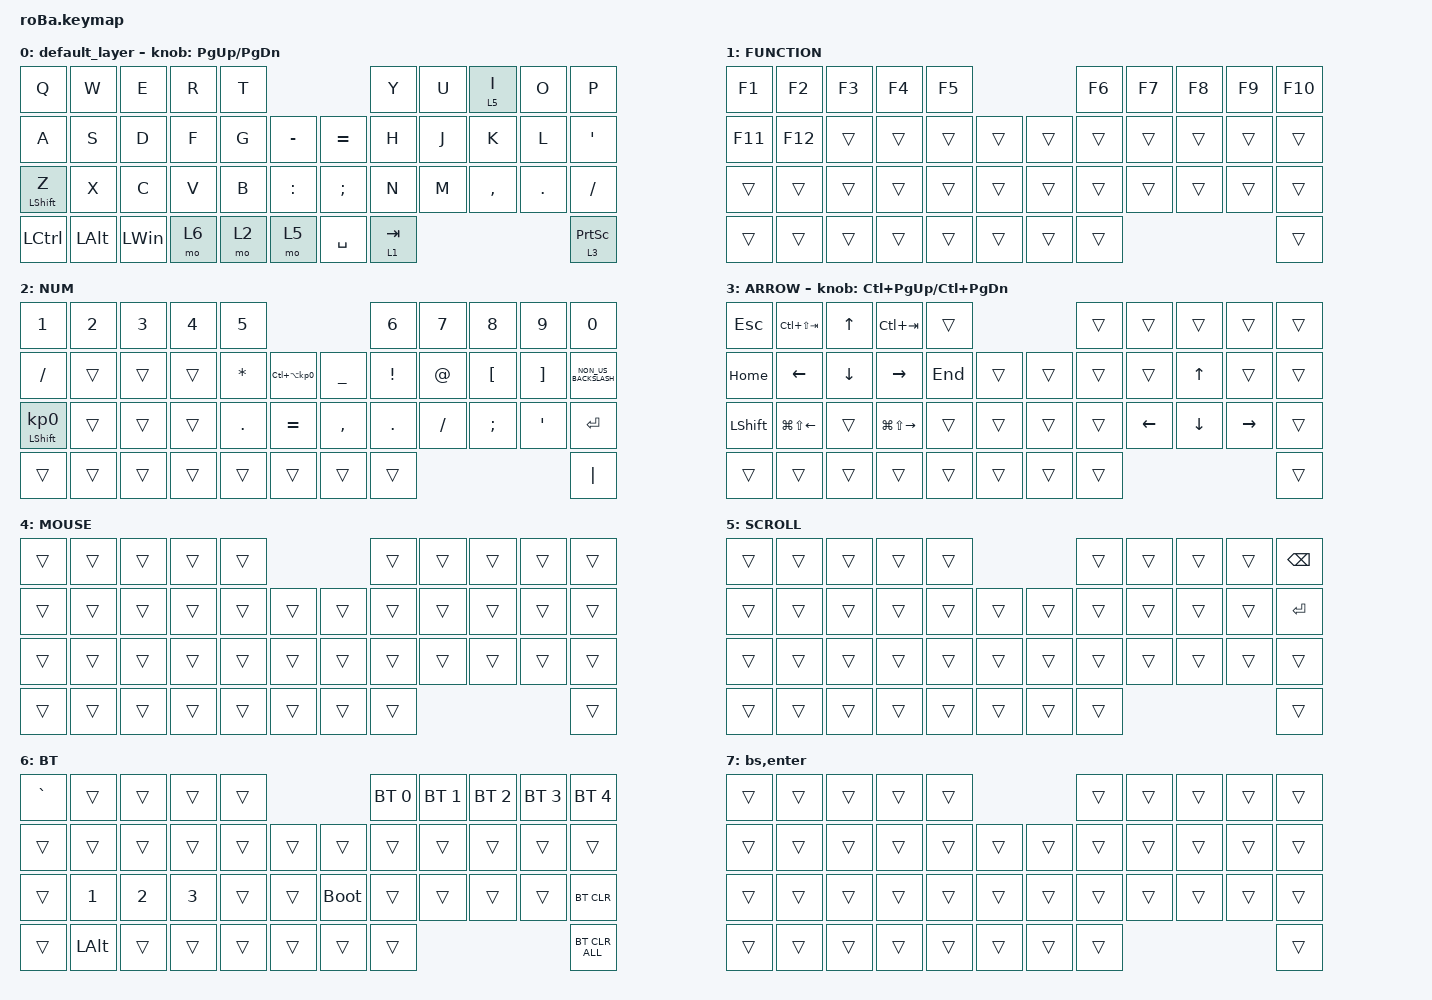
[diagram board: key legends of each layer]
#include <behaviors.dtsi>
#include <dt-bindings/zmk/bt.h>
#include <dt-bindings/zmk/keys.h>

&mt {
    flavor = "balanced";
    quick-tap-ms = <0>;
};

&trackball {
    automouse-layer = <4>;
    scroll-layers = <5>;

    // arrows {
    //     layers = <3>;
    //     bindings =
    //         <&kp RIGHT_ARROW>,
    //         <&kp LEFT_ARROW>,
    //         <&kp UP_ARROW>,
    //         <&kp DOWN_ARROW>;
    //     tick = <10>;
    //     wait-ms = <5>;
    //     tap-ms = <5>;
    // };
};

/ {
    combos {
        compatible = "zmk,combos";

        tab {
            bindings = <&kp TAB>;
            key-positions = <11 12>;
        };

        shift_tab {
            bindings = <&kp LS(TAB)>;
            key-positions = <12 13>;
        };

        muhennkann {
            bindings = <&to_layer_0 INT_MUHENKAN>;
            key-positions = <11 10>;
        };

        double_quotation {
            bindings = <&kp DOUBLE_QUOTES>;
            key-positions = <20 21>;
        };

        eq {
            bindings = <&kp EQUAL>;
            key-positions = <24 25>;
        };
    };

    macros {
        to_layer_0: to_layer_0 {
            compatible = "zmk,behavior-macro-one-param";
            #binding-cells = <1>;
            bindings = <&to 0 &macro_param_1to1 &kp MACRO_PLACEHOLDER>;
            label = "TO_LAYER_0";
        };
    };

    behaviors {
        lt_to_layer_0: lt_to_layer_0 {
            compatible = "zmk,behavior-hold-tap";
            label = "LAYER_TAP_TO_0";
            bindings = <&mo>, <&to_layer_0>;

            #binding-cells = <2>;
            tapping-term-ms = <200>;
        };
    };

    keymap {
        compatible = "zmk,keymap";

        default_layer {
            bindings = <
&kp Q             &kp W         &kp E         &kp R  &kp T                                &kp Y      &kp U  &lt 5 I    &kp O    &kp P
&kp A             &kp S         &kp D         &kp F  &kp G  &kp MINUS      &kp EQUAL      &kp H      &kp J  &kp K      &kp L    &kp SQT
&mt LEFT_SHIFT Z  &kp X         &kp C         &kp V  &kp B  &kp COLON      &kp SEMICOLON  &kp N      &kp M  &kp COMMA  &kp DOT  &kp SLASH
&kp LCTRL         &kp LEFT_ALT  &kp LEFT_WIN  &mo 6  &mo 2  &mo 5          &kp SPACE      &lt 1 TAB                             &lt 3 PRINTSCREEN
            >;

            sensor-bindings = <&inc_dec_kp PG_UP PAGE_DOWN>;
        };

        FUNCTION {
            bindings = <
&kp F1   &kp F2   &kp F3  &kp F4  &kp F5                      &kp F6  &kp F7  &kp F8  &kp F9  &kp F10
&kp F11  &kp F12  &trans  &trans  &trans  &trans      &trans  &trans  &trans  &trans  &trans  &trans
&trans   &trans   &trans  &trans  &trans  &trans      &trans  &trans  &trans  &trans  &trans  &trans
&trans   &trans   &trans  &trans  &trans  &trans      &trans  &trans                          &trans
            >;
        };

        NUM {
            bindings = <
&kp NUMBER_1                &kp NUMBER_2  &kp NUMBER_3  &kp NUMBER_4  &kp NUMBER_5                                               &kp NUMBER_6     &kp NUMBER_7  &kp NUMBER_8      &kp NUMBER_9       &kp NUMBER_0
&kp SLASH                   &trans        &trans        &trans        &kp ASTERISK  &kp LC(LA(KP_NUMBER_0))      &kp UNDERSCORE  &kp EXCLAMATION  &kp AT_SIGN   &kp LEFT_BRACKET  &kp RIGHT_BRACKET  &kp NON_US_BACKSLASH
&mt LEFT_SHIFT KP_NUMBER_0  &trans        &trans        &trans        &kp PERIOD    &kp EQUAL                    &kp COMMA       &kp PERIOD       &kp SLASH     &kp SEMICOLON     &kp SQT            &kp ENTER
&trans                      &trans        &trans        &trans        &trans        &trans                       &trans          &trans                                                              &kp PIPE
            >;
        };

        ARROW {
            bindings = <
&kp ESCAPE      &kp LC(LS(TAB))         &kp UP_ARROW    &kp LC(TAB)              &trans                       &trans  &trans    &trans        &trans     &trans
&kp HOME        &kp LEFT_ARROW          &kp DOWN_ARROW  &kp RIGHT_ARROW          &kp END  &trans      &trans  &trans  &trans    &kp UP_ARROW  &trans     &trans
&kp LEFT_SHIFT  &kp LG(LS(LEFT_ARROW))  &trans          &kp LG(LS(RIGHT_ARROW))  &trans   &trans      &trans  &trans  &kp LEFT  &kp DOWN      &kp RIGHT  &trans
&trans          &trans                  &trans          &trans                   &trans   &trans      &trans  &trans                                     &trans
            >;

            sensor-bindings = <&inc_dec_kp LC(PAGE_UP) LC(PAGE_DOWN)>;
        };

        MOUSE {
            bindings = <
&trans  &trans  &trans  &trans  &trans                      &trans  &trans  &trans  &trans  &trans
&trans  &trans  &trans  &trans  &trans  &trans      &trans  &trans  &trans  &trans  &trans  &trans
&trans  &trans  &trans  &trans  &trans  &trans      &trans  &trans  &trans  &trans  &trans  &trans
&trans  &trans  &trans  &trans  &trans  &trans      &trans  &trans                          &trans
            >;
        };

        SCROLL {
            bindings = <
&trans  &trans  &trans  &trans  &trans                      &trans  &trans  &trans  &trans  &kp BACKSPACE
&trans  &trans  &trans  &trans  &trans  &trans      &trans  &trans  &trans  &trans  &trans  &kp ENTER
&trans  &trans  &trans  &trans  &trans  &trans      &trans  &trans  &trans  &trans  &trans  &trans
&trans  &trans  &trans  &trans  &trans  &trans      &trans  &trans                          &trans
            >;
        };

        BT {
            bindings = <
&kp GRAVE  &trans        &trans        &trans        &trans                           &bt BT_SEL 0  &bt BT_SEL 1  &bt BT_SEL 2  &bt BT_SEL 3  &bt BT_SEL 4
&trans     &trans        &trans        &trans        &trans  &trans      &trans       &trans        &trans        &trans        &trans        &trans
&trans     &kp NUMBER_1  &kp NUMBER_2  &kp NUMBER_3  &trans  &trans      &bootloader  &trans        &trans        &trans        &trans        &bt BT_CLR
&trans     &kp LEFT_ALT  &trans        &trans        &trans  &trans      &trans       &trans                                                  &bt BT_CLR_ALL
            >;
        };

        bs,enter {
            bindings = <
&trans  &trans  &trans  &trans  &trans                      &trans  &trans  &trans  &trans  &trans
&trans  &trans  &trans  &trans  &trans  &trans      &trans  &trans  &trans  &trans  &trans  &trans
&trans  &trans  &trans  &trans  &trans  &trans      &trans  &trans  &trans  &trans  &trans  &trans
&trans  &trans  &trans  &trans  &trans  &trans      &trans  &trans                          &trans
            >;
        };
    };
};
